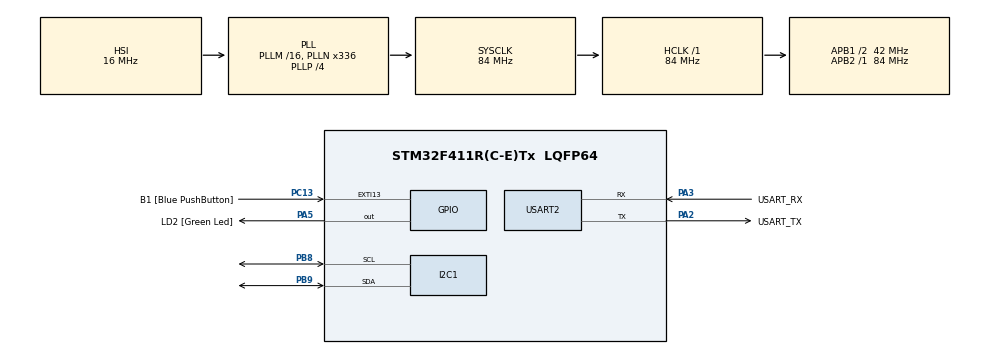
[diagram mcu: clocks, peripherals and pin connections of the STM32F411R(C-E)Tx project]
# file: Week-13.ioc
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Mcu.Family=STM32F4
PC15-OSC32_OUT.Mode=LSE-External-Oscillator
RCC.CortexFreq_Value=84000000
NVIC.I2C1_EV_IRQn=true\:0\:0\:false\:false\:true\:true\:true
PC13-ANTI_TAMP.GPIO_Label=B1 [Blue PushButton]
PA14.GPIO_Label=TCK
PH1\ -\ OSC_OUT.Mode=HSE-External-Clock-Source
RCC.APB1CLKDivider=RCC_HCLK_DIV2
PC14-OSC32_IN.Signal=RCC_OSC32_IN
RCC.SYSCLKSource=RCC_SYSCLKSOURCE_PLLCLK
ProjectManager.StackSize=0x400
PA13.Signal=SYS_JTMS-SWDIO
PA3.Mode=Asynchronous
PH0\ -\ OSC_IN.Mode=HSE-External-Clock-Source
PH0\ -\ OSC_IN.Signal=RCC_OSC_IN
ProjectManager.TargetToolchain=STM32CubeIDE
I2C1.I2C_Mode=I2C_Fast
RCC.HCLKFreq_Value=84000000
PB9.Mode=I2C
RCC.APB2TimFreq_Value=84000000
PC15-OSC32_OUT.Signal=RCC_OSC32_OUT
RCC.AHBFreq_Value=84000000
PA5.Signal=GPIO_Output
RCC.HSE_VALUE=8000000
PH1\ -\ OSC_OUT.Signal=RCC_OSC_OUT
board=NUCLEO-F411RE
PC13-ANTI_TAMP.Signal=GPXTI13
RCC.VCOOutputFreq_Value=336000000
RCC.APB2Freq_Value=84000000
PC14-OSC32_IN.Mode=LSE-External-Oscillator
PA14.Mode=Serial_Wire
PA13.Mode=Serial_Wire
NVIC.I2C1_ER_IRQn=true\:0\:0\:false\:false\:true\:true\:true
Mcu.Name=STM32F411R(C-E)Tx
PA2.Signal=USART2_TX
PA13.GPIO_Label=TMS
RCC.FLatency-AdvancedSettings=FLASH_LATENCY_2
RCC.48MHZClocksFreq_Value=84000000
PB3.Signal=SYS_JTDO-SWO
RCC.SYSCLKFreq_VALUE=84000000
Mcu.Package=LQFP64
PB9.Signal=I2C1_SDA
PA5.GPIO_Label=LD2 [Green Led]
USART2.VirtualMode=VM_ASYNC
PC13-ANTI_TAMP.GPIO_ModeDefaultEXTI=GPIO_MODE_IT_FALLING
PA2.GPIO_Label=USART_TX
PA14.Signal=SYS_JTCK-SWCLK
ProjectManager.HeapSize=0x200
RCC.HSI_VALUE=16000000
RCC.PLLP=RCC_PLLP_DIV4
NVIC.PriorityGroup=NVIC_PRIORITYGROUP_0
PB8.Mode=I2C
RCC.PLLN=336
RCC.APB1TimFreq_Value=84000000
PA2.Mode=Asynchronous
PB8.Signal=I2C1_SCL
RCC.APB1Freq_Value=42000000
PA3.GPIO_Label=USART_RX
PA3.Signal=USART2_RX
PB3.GPIO_Label=SWO

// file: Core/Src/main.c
/* USER CODE BEGIN Header */
/**
 ******************************************************************************
 * @file           : main.c
 * @brief          : Main program body
 ******************************************************************************
 * @attention
 *
 * <h2><center>&copy; Copyright (c) 2021 STMicroelectronics.
 * All rights reserved.</center></h2>
 *
 * This software component is licensed by ST under BSD 3-Clause license,
 * the "License"; You may not use this file except in compliance with the
 * License. You may obtain a copy of the License at:
 *                        opensource.org/licenses/BSD-3-Clause
 *
 ******************************************************************************
 */
/* USER CODE END Header */
#include "main.h"

/* USER CODE BEGIN PD */
#define EEPROM_ADDR 0b10100000
#define IOEXPD_ADDR 0b01000000
/* USER CODE END PD */

I2C_HandleTypeDef hi2c1;

UART_HandleTypeDef huart2;

/* USER CODE BEGIN PV */
uint8_t eepromExampleWriteFlag = 0;
uint8_t eepromExampleReadFlag = 0;
uint8_t IOExpdrExampleWriteFlag = 0;
uint8_t IOExpdrExampleReadFlag = 0;
uint8_t eepromDataReadBack[2];
uint8_t IOExpdrDataReadBack;
uint8_t IOExpdrDataWrite = 0b00000000;

uint8_t eepromWriteFlag = 0;
uint8_t eepromReadFlag = 0;
uint8_t ButtonArray[2]  = {1,1}; 	//[Now,Past] = [up,up]

typedef enum
{
	WaitB,
	IO_R,
	EPROM_W,
	EPROM_R,
	IO_W
}Menu_State;
/* USER CODE END PV */

void SystemClock_Config(void);
static void MX_GPIO_Init(void);
static void MX_USART2_UART_Init(void);
static void MX_I2C1_Init(void);
/* USER CODE BEGIN PFP */
void EEPROMWriteExample();
void EEPROMReadExample(uint8_t *Rdata, uint16_t len);

void EEPROMWrite(uint8_t Wdata);
void EEPROMRead(uint8_t *Rdata, uint16_t len);

void IOExpenderInit();
void IOExpenderReadPinA(uint8_t *Rdata);
void IOExpenderWritePinB(uint8_t Wdata);

/* USER CODE END PFP */

int main(void)
{

  /* MCU Configuration--------------------------------------------------------*/

  /* Reset of all peripherals, Initializes the Flash interface and the Systick. */
  HAL_Init();

  /* Configure the system clock */
  SystemClock_Config();

  /* Initialize all configured peripherals */
  MX_GPIO_Init();
  MX_USART2_UART_Init();
  MX_I2C1_Init();
  /* USER CODE BEGIN 2 */
  HAL_Delay(100);
  IOExpenderInit();
  /* USER CODE END 2 */

  /* Infinite loop */
  /* USER CODE BEGIN WHILE */
	while (1) {

		static Menu_State State = EPROM_R;

		switch(State)
		{
			case WaitB:
				ButtonArray[1] = ButtonArray[0];
				ButtonArray[0] = HAL_GPIO_ReadPin(B1_GPIO_Port, B1_Pin);
				//when released button
				if(ButtonArray[0] == 1 && ButtonArray[1] == 0)
				{
					State = IO_R;
				}
				HAL_Delay(100);
				break;

			case IO_R:
				IOExpdrExampleReadFlag = 1;
				IOExpenderReadPinA(&IOExpdrDataReadBack);
				State = EPROM_W;
				HAL_Delay(100);
				break;

			case EPROM_W:
				eepromWriteFlag = 1;
				EEPROMWrite(IOExpdrDataReadBack);
				State = EPROM_R;
				HAL_Delay(100);
				break;

			case EPROM_R:
				eepromReadFlag = 1;
				EEPROMRead(eepromDataReadBack, 2);
				State = IO_W;
				HAL_Delay(100);
				break;

			case IO_W:
				IOExpdrDataWrite = ( (eepromDataReadBack[0]) | (eepromDataReadBack[1]<<2) | (eepromDataReadBack[2]<<4) | (eepromDataReadBack[3]<<6) );
				IOExpdrExampleWriteFlag = 1;
				IOExpenderWritePinB(IOExpdrDataWrite );
				State = WaitB;
				HAL_Delay(100);
				break;
		}

    /* USER CODE END WHILE */

	}
}

void SystemClock_Config(void)
{
  RCC_OscInitTypeDef RCC_OscInitStruct = {0};
  RCC_ClkInitTypeDef RCC_ClkInitStruct = {0};

  /** Configure the main internal regulator output voltage
  */
  __HAL_RCC_PWR_CLK_ENABLE();
  __HAL_PWR_VOLTAGESCALING_CONFIG(PWR_REGULATOR_VOLTAGE_SCALE1);
  /** Initializes the RCC Oscillators according to the specified parameters
  * in the RCC_OscInitTypeDef structure.
  */
  RCC_OscInitStruct.OscillatorType = RCC_OSCILLATORTYPE_HSI;
  RCC_OscInitStruct.HSIState = RCC_HSI_ON;
  RCC_OscInitStruct.HSICalibrationValue = RCC_HSICALIBRATION_DEFAULT;
  RCC_OscInitStruct.PLL.PLLState = RCC_PLL_ON;
  RCC_OscInitStruct.PLL.PLLSource = RCC_PLLSOURCE_HSI;
  RCC_OscInitStruct.PLL.PLLM = 16;
  RCC_OscInitStruct.PLL.PLLN = 336;
  RCC_OscInitStruct.PLL.PLLP = RCC_PLLP_DIV4;
  RCC_OscInitStruct.PLL.PLLQ = 4;
  if (HAL_RCC_OscConfig(&RCC_OscInitStruct) != HAL_OK)
  {
    Error_Handler();
  }
  /** Initializes the CPU, AHB and APB buses clocks
  */
  RCC_ClkInitStruct.ClockType = RCC_CLOCKTYPE_HCLK|RCC_CLOCKTYPE_SYSCLK
                              |RCC_CLOCKTYPE_PCLK1|RCC_CLOCKTYPE_PCLK2;
  RCC_ClkInitStruct.SYSCLKSource = RCC_SYSCLKSOURCE_PLLCLK;
  RCC_ClkInitStruct.AHBCLKDivider = RCC_SYSCLK_DIV1;
  RCC_ClkInitStruct.APB1CLKDivider = RCC_HCLK_DIV2;
  RCC_ClkInitStruct.APB2CLKDivider = RCC_HCLK_DIV1;

  if (HAL_RCC_ClockConfig(&RCC_ClkInitStruct, FLASH_LATENCY_2) != HAL_OK)
  {
    Error_Handler();
  }
}

static void MX_I2C1_Init(void)
{

  hi2c1.Instance = I2C1;
  hi2c1.Init.ClockSpeed = 400000;
  hi2c1.Init.DutyCycle = I2C_DUTYCYCLE_2;
  hi2c1.Init.OwnAddress1 = 0;
  hi2c1.Init.AddressingMode = I2C_ADDRESSINGMODE_7BIT;
  hi2c1.Init.DualAddressMode = I2C_DUALADDRESS_DISABLE;
  hi2c1.Init.OwnAddress2 = 0;
  hi2c1.Init.GeneralCallMode = I2C_GENERALCALL_DISABLE;
  hi2c1.Init.NoStretchMode = I2C_NOSTRETCH_DISABLE;
  if (HAL_I2C_Init(&hi2c1) != HAL_OK)
  {
    Error_Handler();
  }

}

static void MX_USART2_UART_Init(void)
{

  huart2.Instance = USART2;
  huart2.Init.BaudRate = 115200;
  huart2.Init.WordLength = UART_WORDLENGTH_8B;
  huart2.Init.StopBits = UART_STOPBITS_1;
  huart2.Init.Parity = UART_PARITY_NONE;
  huart2.Init.Mode = UART_MODE_TX_RX;
  huart2.Init.HwFlowCtl = UART_HWCONTROL_NONE;
  huart2.Init.OverSampling = UART_OVERSAMPLING_16;
  if (HAL_UART_Init(&huart2) != HAL_OK)
  {
    Error_Handler();
  }

}

static void MX_GPIO_Init(void)
{
  GPIO_InitTypeDef GPIO_InitStruct = {0};

  /* GPIO Ports Clock Enable */
  __HAL_RCC_GPIOC_CLK_ENABLE();
  __HAL_RCC_GPIOH_CLK_ENABLE();
  __HAL_RCC_GPIOA_CLK_ENABLE();
  __HAL_RCC_GPIOB_CLK_ENABLE();

  /*Configure GPIO pin Output Level */
  HAL_GPIO_WritePin(LD2_GPIO_Port, LD2_Pin, GPIO_PIN_RESET);

  /*Configure GPIO pin : B1_Pin */
  GPIO_InitStruct.Pin = B1_Pin;
  GPIO_InitStruct.Mode = GPIO_MODE_IT_FALLING;
  GPIO_InitStruct.Pull = GPIO_NOPULL;
  HAL_GPIO_Init(B1_GPIO_Port, &GPIO_InitStruct);

  /*Configure GPIO pin : LD2_Pin */
  GPIO_InitStruct.Pin = LD2_Pin;
  GPIO_InitStruct.Mode = GPIO_MODE_OUTPUT_PP;
  GPIO_InitStruct.Pull = GPIO_NOPULL;
  GPIO_InitStruct.Speed = GPIO_SPEED_FREQ_LOW;
  HAL_GPIO_Init(LD2_GPIO_Port, &GPIO_InitStruct);

}

/* USER CODE BEGIN 4 */
void EEPROMWriteExample() {
	if (eepromExampleWriteFlag && hi2c1.State == HAL_I2C_STATE_READY) {

		static uint8_t data[2] = { 0xff, 0x00 };
		HAL_I2C_Mem_Write_IT(&hi2c1, EEPROM_ADDR, 0x2C, I2C_MEMADD_SIZE_16BIT,
				data,2);
		eepromExampleWriteFlag = 0;
	}
}
void EEPROMReadExample(uint8_t *Rdata, uint16_t len) {
	if (eepromExampleReadFlag && hi2c1.State == HAL_I2C_STATE_READY) {

		HAL_I2C_Mem_Read_IT(&hi2c1, EEPROM_ADDR, 0x2c, I2C_MEMADD_SIZE_16BIT,
				Rdata, len);
		eepromExampleReadFlag = 0;
	}
}

void EEPROMWrite(uint8_t Wdata) {
	if (eepromWriteFlag && hi2c1.State == HAL_I2C_STATE_READY) {

		static uint8_t data[2] = {0};
		data[0] =  Wdata     & 0b00000011;
		data[1] = (Wdata>>2) & 0b00000011;
		HAL_I2C_Mem_Write_IT(&hi2c1, EEPROM_ADDR, 0x06, I2C_MEMADD_SIZE_16BIT,data, 2);
		eepromWriteFlag = 0;
	}
}
void EEPROMRead(uint8_t *Rdata, uint16_t len) {
	if (eepromReadFlag && hi2c1.State == HAL_I2C_STATE_READY) {
		HAL_I2C_Mem_Read_IT(&hi2c1, EEPROM_ADDR, 0x06, I2C_MEMADD_SIZE_16BIT, Rdata, len);
		eepromReadFlag = 0;
	}
}

void IOExpenderInit() {
	//Init All
	static uint8_t Setting[0x16] = { 0xFF, 0x00, 0x00, 0x00, 0x00, 0x00, 0x00,
			0x00, 0x00, 0x00, 0x00, 0x00, 0xFF, 0x00, 0x00, 0x00, 0x00, 0x00,
			0x00, 0x00, 0x00, 0x00 };
	HAL_I2C_Mem_Write(&hi2c1, IOEXPD_ADDR, 0x00, I2C_MEMADD_SIZE_8BIT, Setting,
			0x16, 100);
}
void IOExpenderReadPinA(uint8_t *Rdata) {
	if (IOExpdrExampleReadFlag && hi2c1.State == HAL_I2C_STATE_READY) {
		HAL_I2C_Mem_Read_IT(&hi2c1, IOEXPD_ADDR, 0x12, I2C_MEMADD_SIZE_8BIT,
				Rdata, 1);
		IOExpdrExampleReadFlag =0;
	}
}
void IOExpenderWritePinB(uint8_t Wdata) {
	if (IOExpdrExampleWriteFlag && hi2c1.State == HAL_I2C_STATE_READY) {
		static uint8_t data;
		data = Wdata;
		HAL_I2C_Mem_Write_IT(&hi2c1, IOEXPD_ADDR, 0x15, I2C_MEMADD_SIZE_8BIT,
				&data, 1);
		IOExpdrExampleWriteFlag=0;
	}
}
/* USER CODE END 4 */

void Error_Handler(void)
{
	__disable_irq();
	while (1) {
	}
}

/************************ (C) COPYRIGHT STMicroelectronics *****END OF FILE****/
